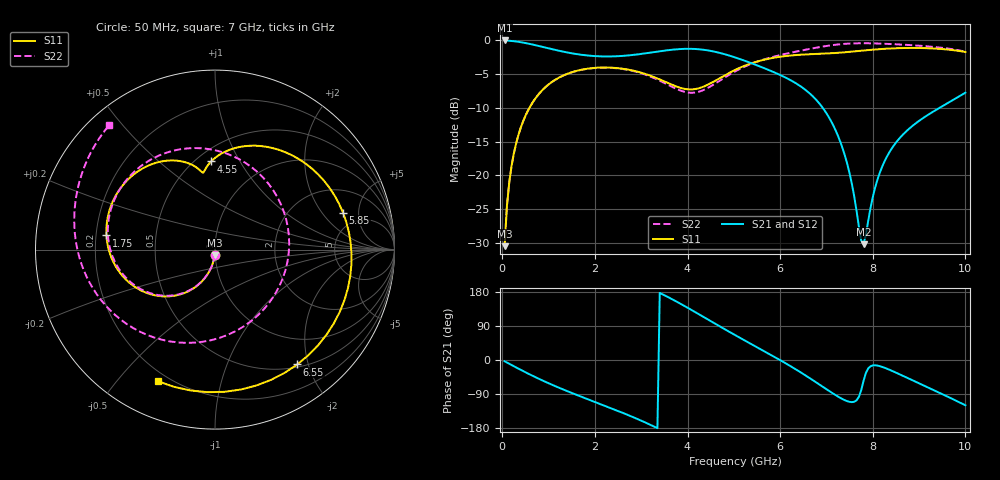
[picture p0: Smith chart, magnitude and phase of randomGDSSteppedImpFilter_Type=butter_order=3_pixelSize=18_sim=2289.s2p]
! freq	dB(S11)	phase(S11)	dB(S12)	phase(S12)
!  dB(S21)	phase(S21)	dB(S22)	phase(S22)
!S-par simulation data
#  GHz  S  DB  R 50
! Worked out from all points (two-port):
!   200 points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, 50 MHz to 10 GHz, reference 50 ohm
!   highest |S21| = -0.01 dB at 50 MHz (marker M1); lowest = -30.2 dB at 7.8 GHz (marker M2)
!   |S21| within 3 dB of the highest: start of sweep to 5.231 GHz
!   lowest |S11| = -30.5 dB at 50 MHz (marker M3), VSWR 1.06, Z = 49.7 - j2.96 ohm
!   |S11| at or under -10 dB: start of sweep to 586.6 MHz
!   |S22| runs from -30.5 to -0.4 dB; largest |S21 - S12| = 0
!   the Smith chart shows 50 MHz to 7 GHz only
!   S11 on the Smith chart (normalised r, x): 50 MHz: 0.99, -0.06; 1.75 GHz: 0.24, +0.06; 4.55 GHz: 0.59, +0.76; 5.85 GHz: 3.59, +3.30; 6.55 GHz: 0.54, -1.82; 7 GHz: 0.16, -0.64
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0.05  -30.51 -93.4  -0.01 -3.4  -0.01 -3.4  -30.51 -93.5
0.2  -18.61 -103.7  -0.08 -13.2  -0.08 -13.2  -18.62 -103.8
0.5  -11.18 -122.6  -0.39 -32.3  -0.39 -32.3  -11.18 -123.1
1.05  -6.27 -153.8  -1.26 -64.1  -1.26 -64.1  -6.27 -155.2
1.75  -4.30 172.6  -2.17 -99.0  -2.17 -99.0  -4.31 168.5
2.7  -4.31 133.0  -2.24 -144.4  -2.24 -144.4  -4.36 117.7
3.4  -5.79 108.7  -1.61 177.1  -1.61 177.1  -5.98 66.0
4  -7.25 99.2  -1.25 138.0  -1.25 138.0  -7.72 -2.7
4.55  -6.17 92.5  -1.62 99.1  -1.62 99.1  -6.59 -75.5
5.05  -4.30 71.7  -2.58 64.1  -2.58 64.1  -4.51 -124.5
5.85  -2.59 16.2  -4.67 10.1  -4.67 10.1  -2.43 -176.3
6.2  -2.26 -16.0  -5.81 -14.5  -5.81 -14.5  -1.87 166.3
6.55  -2.08 -54.4  -7.36 -40.9  -7.36 -40.9  -1.37 150.4
6.7  -2.03 -73.0  -8.26 -52.8  -8.26 -52.8  -1.18 143.7
7  -1.94 -113.6  -10.81 -77.1  -10.81 -77.1  -0.82 130.4
7.4  -1.76 -170.7  -17.12 -106.2  -17.12 -106.2  -0.51 112.3
7.8  -1.50 136.4  -30.21 -55.3  -30.21 -55.3  -0.42 94.4
8.05  -1.35 107.6  -21.85 -14.0  -21.85 -14.0  -0.45 83.4
8.35  -1.21 77.4  -16.69 -25.2  -16.69 -25.2  -0.53 70.5
8.75  -1.12 42.9  -13.31 -47.4  -13.31 -47.4  -0.67 53.4
9.15  -1.15 13.0  -11.23 -70.1  -11.23 -70.1  -0.86 35.9
10  -1.72 -43.2  -7.75 -119.6  -7.75 -119.6  -1.68 -5.3
